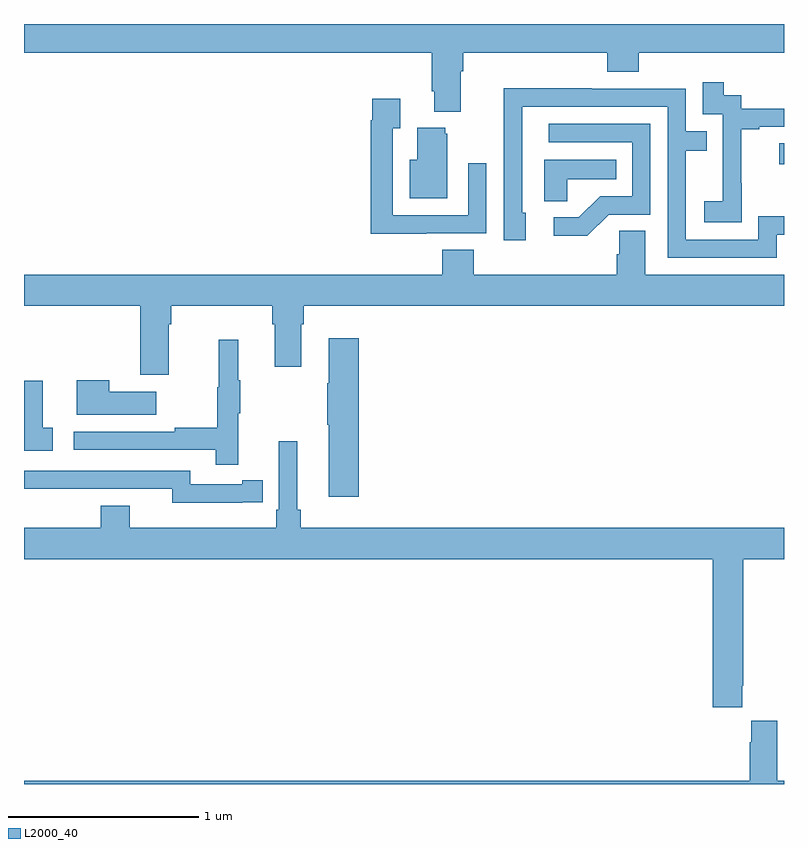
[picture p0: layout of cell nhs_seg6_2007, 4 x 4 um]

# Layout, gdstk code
import gdstk
lib = gdstk.Library(unit=1e-6, precision=1e-09)
def R(c, l, rs):  # rectangles x0, y0, x1, y1
    for r in rs: c.add(gdstk.rectangle(r[:2], r[2:], *l))
def P(c, l, *ps):  # polygons
    for p in ps: c.add(gdstk.Polygon(p, *l))
L2000_40 = (2000, 40)

nhs_seg6_2007 = lib.new_cell('nhs_seg6_2007')
R(nhs_seg6_2007, L2000_40, [(234.975,934.763,235,934.873)])
P(nhs_seg6_2007, L2000_40, [(233.299,935.252),(233.312,935.252),(233.312,935.348),(234.071,935.348),(234.071,935.249),(234.236,935.249),(234.236,935.348),(235,935.348),(235,935.5),(231,935.5),(231,935.348),(233.147,935.348),(233.147,935.146),(233.159,935.146),(233.159,935.039),(233.299,935.039)],
  [(234.777,934.663),(234.776,934.663),(234.776,934.947),(234.871,934.947),(234.871,934.959),(235,934.959),(235,935.055),(234.774,935.055),(234.774,935.124),(234.682,935.124),(234.682,935.194),(234.573,935.194),(234.573,935.025),(234.678,935.025),(234.678,934.796),(234.677,934.796),(234.677,934.567),(234.579,934.567),(234.579,934.457),(234.777,934.457)],
  [(234.961,934.392),(235,934.392),(235,934.488),(234.864,934.488),(234.864,934.365),(234.483,934.365),(234.483,934.834),(234.593,934.834),(234.593,934.935),(234.483,934.935),(234.483,935.16),(233.987,935.16),(233.987,935.162),(233.524,935.162),(233.524,934.855),(233.526,934.855),(233.526,934.362),(233.641,934.362),(233.641,934.506),(233.622,934.506),(233.622,935.064),(234.387,935.064),(234.387,934.269),(234.961,934.269)],
  [(233.117,934.398),(233.433,934.398),(233.433,934.768),(233.337,934.768),(233.337,934.494),(232.941,934.494),(232.941,934.951),(232.981,934.951),(232.981,935.107),(232.833,935.107),(232.833,934.994),(232.825,934.994),(232.825,934.397),(233.117,934.397)],
  [(234.078,934.497),(234.297,934.497),(234.297,934.974),(233.763,934.974),(233.763,934.878),(234.201,934.878),(234.201,934.593),(234.032,934.593),(233.921,934.482),(233.787,934.482),(233.787,934.385),(233.965,934.385)],
  [(233.227,934.923),(233.216,934.923),(233.216,934.954),(233.069,934.954),(233.069,934.786),(233.03,934.786),(233.03,934.583),(233.227,934.583)],
  [(233.859,934.682),(234.116,934.682),(234.116,934.786),(233.738,934.786),(233.738,934.567),(233.859,934.567)],
  [(231,934.016),(231.611,934.016),(231.611,933.654),(231.763,933.654),(231.763,933.92),(231.776,933.92),(231.776,934.016),(232.307,934.016),(232.307,933.92),(232.319,933.92),(232.319,933.696),(232.459,933.696),(232.459,933.92),(232.472,933.92),(232.472,934.016),(235,934.016),(235,934.18),(234.271,934.18),(234.271,934.412),(234.132,934.412),(234.132,934.289),(234.119,934.289),(234.119,934.18),(233.366,934.18),(233.366,934.313),(233.201,934.313),(233.201,934.18),(231,934.18)],
  [(232.763,933.847),(232.604,933.847),(232.604,933.608),(232.597,933.608),(232.597,933.391),(232.604,933.391),(232.604,933.012),(232.763,933.012)],
  [(232.127,933.451),(232.138,933.451),(232.138,933.625),(232.127,933.625),(232.127,933.838),(232.024,933.838),(232.024,933.588),(232.017,933.588),(232.017,933.374),(231.793,933.374),(231.793,933.354),(231.261,933.354),(231.261,933.258),(232.009,933.258),(232.009,933.18),(232.127,933.18)],
  [(231.697,933.565),(231.449,933.565),(231.449,933.625),(231.278,933.625),(231.278,933.443),(231.697,933.443)],
  [(231.151,933.375),(231.098,933.375),(231.098,933.622),(231,933.622),(231,933.255),(231.151,933.255)],
  [(234.781,932.017),(234.786,932.017),(234.786,932.684),(235,932.684),(235,932.848),(232.457,932.848),(232.457,932.944),(232.438,932.944),(232.438,933.304),(232.341,933.304),(232.341,932.944),(232.328,932.944),(232.328,932.848),(231.556,932.848),(231.556,932.965),(231.404,932.965),(231.404,932.848),(231,932.848),(231,932.684),(234.626,932.684),(234.626,931.905),(234.781,931.905)],
  [(232.148,932.982),(232.256,932.982),(232.256,933.098),(232.148,933.098),(232.148,933.078),(231.876,933.078),(231.876,933.15),(231,933.15),(231,933.053),(231.32,933.053),(231.32,933.054),(231.78,933.054),(231.78,932.981),(232.148,932.981)],
  [(235,931.516),(234.964,931.516),(234.964,931.834),(234.827,931.834),(234.827,931.721),(234.821,931.721),(234.821,931.516),(231,931.516),(231,931.5),(235,931.5)])

lib.write_gds('nhs_seg6_2007.gds')
